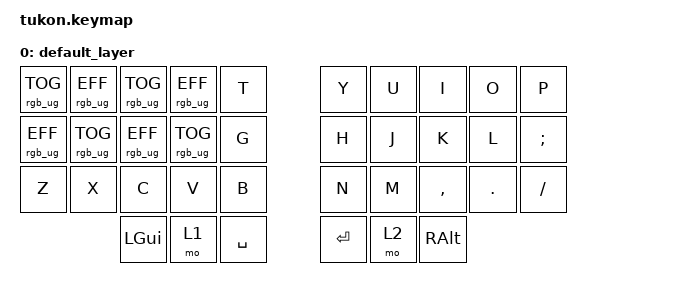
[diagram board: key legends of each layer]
#include <behaviors.dtsi>
#include <dt-bindings/zmk/keys.h>
#include <dt-bindings/zmk/rgb.h>

/ {
        keymap {
                compatible = "zmk,keymap";

                default_layer {
                        // -----------------------------------------------------------------------------------------
                        // |  Q  |  W  |  E  |  R  |  T  |   |  Y  |  U   |  I  |  O  |  P  |
                        // |  A  |  S  |  D  |  F  |  G  |   |  H  |  J   |  K  |  L  |  ;  |
                        // |  Z  |  X  |  C  |  V  |  B  |   |  N  |  M   |  ,  |  .  |  /  |
                        //             | GUI | LWR | SPC |   | ENT | RSE  | ALT |
                        bindings = <
                        &rgb_ug RGB_TOG &rgb_ug RGB_EFF &rgb_ug RGB_TOG &rgb_ug RGB_EFF &kp T   &kp Y &kp U  &kp I     &kp O   &kp P
                        &rgb_ug RGB_EFF &rgb_ug RGB_TOG &rgb_ug RGB_EFF &rgb_ug RGB_TOG &kp G   &kp H &kp J  &kp K     &kp L   &kp SEMI
                        &kp Z &kp X &kp C &kp V &kp B   &kp N &kp M  &kp COMMA &kp DOT &kp FSLH
                        &kp LGUI &mo 1 &kp SPACE   &kp RET &mo 2 &kp RALT
                        >;
                };
        };
};
